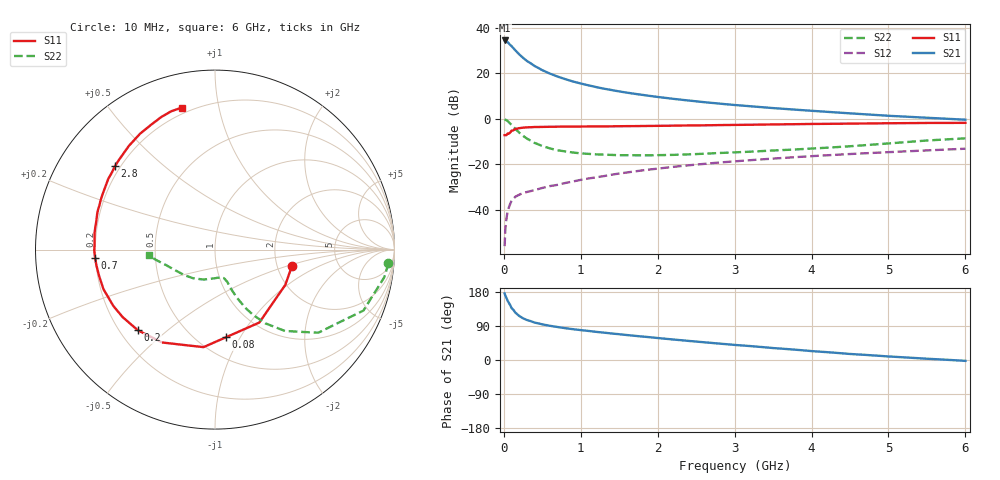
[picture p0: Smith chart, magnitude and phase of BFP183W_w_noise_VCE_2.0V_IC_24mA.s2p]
! Infineon Technologies  Discrete & RF Semiconductors
! BFP183W
! VCE =  2.0 V,  IC =  24 mA
! Common Emitter S-Parameters:  Jan 2017
# GHz  S  MA  R  50
!  f  S11  S21  S12  S22
! GHz  MAG  ANG  MAG  ANG  MAG  ANG  MAG  ANG
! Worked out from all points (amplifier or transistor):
!   77 points, 10 MHz to 6 GHz, reference 50 ohm
!   highest |S21| = 34.4 dB at 10 MHz (marker M1)
!   |S21| within 3 dB of that: start of sweep to 114 MHz
!   unconditionally stable (mu >= 1): 933.6 MHz to 3.688 GHz
!   at 130 MHz: K = 0.28, MSG = 32.8 dB, |S12| = -34.9 dB
!   at 2.2 GHz: K = 1.08, MAG = 13.2 dB, |S12| = -21.1 dB
!   at 6 GHz: K = 0.89, MSG = 6.4 dB, |S12| = -13.1 dB
!   lowest NFmin = 1.27 dB at 450 MHz
!   S11 on the Smith chart (normalised r, x): 10 MHz: 2.41, -0.56; 80 MHz: 0.68, -0.87; 200 MHz: 0.27, -0.40; 700 MHz: 0.20, -0.03; 2.8 GHz: 0.18, +0.35; 6 GHz: 0.17, +0.78
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0.01  0.4379 -12.3  52.23 175.7  0.0016 81.9  0.9695 -4.5
0.02  0.4383 -26.6  51.58 169.9  0.0039 82.2  0.956 -9.2
0.05  0.4756 -58.7  47.8 155.9  0.0093 70.5  0.8944 -22.3
0.08  0.4924 -82.9  42.11 145.6  0.0132 62.4  0.7928 -31.4
0.1  0.5472 -96.7  39.24 137.3  0.0159 59.3  0.7388 -38.8
0.15  0.5958 -119.7  31.68 125.0  0.0195 50.0  0.5982 -49.3
0.2  0.6218 -133.7  25.87 116.2  0.0215 46.8  0.497 -55.7
0.25  0.6371 -143.7  21.7 110.0  0.0236 44.4  0.4217 -59.7
0.3  0.6475 -150.9  18.54 105.5  0.0247 44.4  0.3671 -62.4
0.4  0.6595 -160.5  14.36 98.7  0.0272 46.2  0.295 -65.5
0.5  0.6621 -167.1  11.63 94.1  0.0303 48.0  0.2519 -67.1
0.6  0.6663 -172.1  9.777 90.2  0.0333 49.7  0.2234 -68.3
0.7  0.6696 -176.0  8.407 87.0  0.0355 52.3  0.2033 -68.7
0.9  0.6714 177.3  6.561 81.3  0.0421 54.9  0.1815 -70.5
1.1  0.6775 172.0  5.402 76.7  0.0489 57.1  0.1696 -72.1
1.5  0.6856 163.3  3.978 68.0  0.0628 59.5  0.1586 -78.0
2.1  0.7014 151.6  2.871 56.1  0.0841 58.9  0.1599 -91.4
2.8  0.7263 140.1  2.15 43.3  0.1095 56.3  0.1772 -110.1
3.1  0.735 135.5  1.943 38.3  0.1196 54.8  0.186 -118.2
4.1  0.7708 121.7  1.457 22.1  0.1544 49.0  0.2266 -142.8
5.1  0.799 111.1  1.139 8.2  0.1883 42.6  0.296 -164.3
6  0.8126 103.2  0.953 -2.3  0.2201 36.4  0.3717 -175.1
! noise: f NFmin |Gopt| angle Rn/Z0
0.45  1.27  0.23  176  0.1
0.9  1.29  0.27  178  0.09
1.9  1.78  0.43  -159  0.09
2.4  2.01  0.47  -154  0.13
